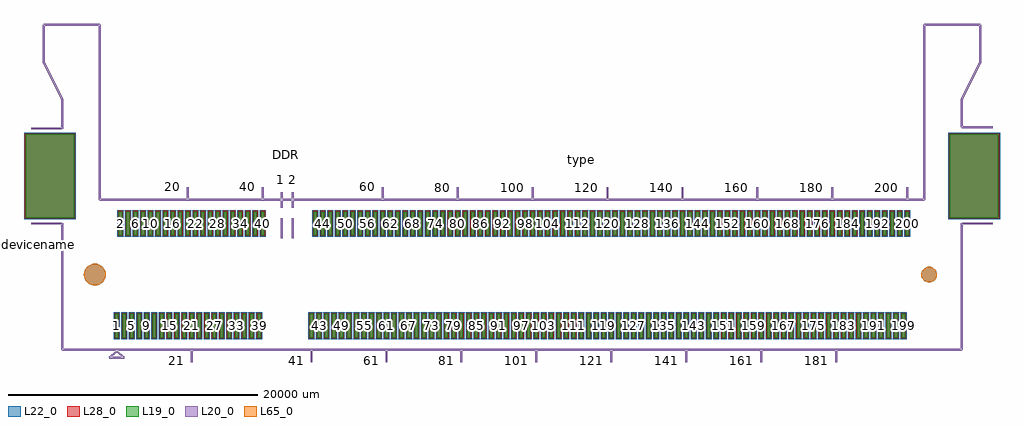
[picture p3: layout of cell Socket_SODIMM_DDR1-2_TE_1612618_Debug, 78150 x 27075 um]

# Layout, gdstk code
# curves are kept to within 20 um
import gdstk
lib = gdstk.Library(unit=1e-6, precision=1e-09)
def R(c, l, rs):  # rectangles x0, y0, x1, y1
    for r in rs: c.add(gdstk.rectangle(r[:2], r[2:], *l))
def A(c, l, x, y, w, h, nx, ny, dx, dy):  # array of equal rectangles
    R(c, l, [(x+i*dx, y+j*dy, x+i*dx+w, y+j*dy+h) for i in range(nx) for j in range(ny)])
def P(c, l, *ps):  # polygons
    for p in ps: c.add(gdstk.Polygon(p, *l))
L19_0 = (19, 0)
L20_0 = (20, 0)
L22_0 = (22, 0)
L28_0 = (28, 0)
L65_0 = (65, 0)

socket_sodimm_ddr1_2_te_ = lib.new_cell('Socket_SODIMM_DDR1-2_TE_1612618_Debug')
A(socket_sodimm_ddr1_2_te_, L19_0, -31775, -5050, 250, 1900, 20, 1, 600, 0)
A(socket_sodimm_ddr1_2_te_, L19_0, -16175, -5050, 250, 1900, 80, 1, 600, 0)
A(socket_sodimm_ddr1_2_te_, L19_0, -31475, 3150, 250, 1900, 20, 1, 600, 0)
A(socket_sodimm_ddr1_2_te_, L19_0, -15875, 3150, 250, 1900, 80, 1, 600, 0)
R(socket_sodimm_ddr1_2_te_, L19_0, [(-38950,4550,-35050,11250), (35050,4550,38950,11250)])
A(socket_sodimm_ddr1_2_te_, L22_0, -31900, -5175, 500, 2150, 20, 1, 600, 0)
A(socket_sodimm_ddr1_2_te_, L22_0, -16300, -5175, 500, 2150, 80, 1, 600, 0)
A(socket_sodimm_ddr1_2_te_, L22_0, -31600, 3025, 500, 2150, 20, 1, 600, 0)
A(socket_sodimm_ddr1_2_te_, L22_0, -16000, 3025, 500, 2150, 80, 1, 600, 0)
R(socket_sodimm_ddr1_2_te_, L22_0, [(-39075,4425,-34925,11375), (34925,4425,39075,11375)])
P(socket_sodimm_ddr1_2_te_, L22_0, [(34025,0),(33977.425,239.177),(33841.942,441.942),(33639.177,577.425),(33400,625),(33160.823,577.425),(32958.058,441.942),(32822.575,239.177),(32775,0),(32822.575,-239.177),(32958.058,-441.942),(33160.823,-577.425),(33400,-625),(33639.177,-577.425),(33841.942,-441.942),(33977.425,-239.177)],
  [(-32525,0),(-32591.605,334.848),(-32781.282,618.718),(-33065.152,808.395),(-33400,875),(-33734.848,808.395),(-34018.718,618.718),(-34208.395,334.848),(-34275,0),(-34208.395,-334.848),(-34018.718,-618.718),(-33734.848,-808.395),(-33400,-875),(-33065.152,-808.395),(-32781.282,-618.718),(-32591.605,-334.848)])
A(socket_sodimm_ddr1_2_te_, L28_0, -31825, -5100, 350, 2000, 20, 1, 600, 0)
A(socket_sodimm_ddr1_2_te_, L28_0, -16225, -5100, 350, 2000, 80, 1, 600, 0)
A(socket_sodimm_ddr1_2_te_, L28_0, -31525, 3100, 350, 2000, 20, 1, 600, 0)
A(socket_sodimm_ddr1_2_te_, L28_0, -15925, 3100, 350, 2000, 80, 1, 600, 0)
R(socket_sodimm_ddr1_2_te_, L28_0, [(-39000,4500,-35000,11300), (35000,4500,39000,11300)])
P(socket_sodimm_ddr1_2_te_, L65_0, [(34025,0),(33977.425,239.177),(33841.942,441.942),(33639.177,577.425),(33400,625),(33160.823,577.425),(32958.058,441.942),(32822.575,239.177),(32775,0),(32822.575,-239.177),(32958.058,-441.942),(33160.823,-577.425),(33400,-625),(33639.177,-577.425),(33841.942,-441.942),(33977.425,-239.177)],
  [(-32525,0),(-32591.605,334.848),(-32781.282,618.718),(-33065.152,808.395),(-33400,875),(-33734.848,808.395),(-34018.718,618.718),(-34208.395,334.848),(-34275,0),(-34208.395,-334.848),(-34018.718,-618.718),(-33734.848,-808.395),(-33400,-875),(-33065.152,-808.395),(-32781.282,-618.718),(-32591.605,-334.848)])
socket_sodimm_ddr1_2_te_.add(gdstk.FlexPath([(-33000,20000),(-37500,20000)], 149.998, ends="flush", simple_path=True, layer=20, datatype=0))  # L20_0
socket_sodimm_ddr1_2_te_.add(gdstk.FlexPath([(-33000,6000),(-33000,20000)], 149.998, ends="flush", simple_path=True, layer=20, datatype=0))  # L20_0
socket_sodimm_ddr1_2_te_.add(gdstk.FlexPath([(0,6000),(-33000,6000)], 149.998, ends="flush", simple_path=True, layer=20, datatype=0))  # L20_0
socket_sodimm_ddr1_2_te_.add(gdstk.FlexPath([(33000,6000),(0,6000)], 149.998, ends="flush", simple_path=True, layer=20, datatype=0))  # L20_0
socket_sodimm_ddr1_2_te_.add(gdstk.FlexPath([(33000,20000),(33000,6000)], 149.998, ends="flush", simple_path=True, layer=20, datatype=0))  # L20_0
socket_sodimm_ddr1_2_te_.add(gdstk.FlexPath([(37500,20000),(33000,20000)], 149.998, ends="flush", simple_path=True, layer=20, datatype=0))  # L20_0
socket_sodimm_ddr1_2_te_.add(gdstk.FlexPath([(37500,17000),(37500,20000)], 149.998, ends="flush", simple_path=True, layer=20, datatype=0))  # L20_0
socket_sodimm_ddr1_2_te_.add(gdstk.FlexPath([(36000,14000),(37500,17000)], 149.998, ends="flush", simple_path=True, layer=20, datatype=0))  # L20_0
socket_sodimm_ddr1_2_te_.add(gdstk.FlexPath([(-36000,-6000),(36000,-6000)], 149.998, ends="flush", simple_path=True, layer=20, datatype=0))  # L20_0
socket_sodimm_ddr1_2_te_.add(gdstk.FlexPath([(-37500,17000),(-36000,14000)], 149.998, ends="flush", simple_path=True, layer=20, datatype=0))  # L20_0
socket_sodimm_ddr1_2_te_.add(gdstk.FlexPath([(-37500,20000),(-37500,17000)], 149.998, ends="flush", simple_path=True, layer=20, datatype=0))  # L20_0
socket_sodimm_ddr1_2_te_.add(gdstk.FlexPath([(-18450,5350),(-18450,6600)], 149.998, ends="flush", simple_path=True, layer=20, datatype=0))  # L20_0
socket_sodimm_ddr1_2_te_.add(gdstk.FlexPath([(-17550,5350),(-17550,6600)], 149.998, ends="flush", simple_path=True, layer=20, datatype=0))  # L20_0
socket_sodimm_ddr1_2_te_.add(gdstk.FlexPath([(-17550,4500),(-17550,2900)], 149.998, ends="flush", simple_path=True, layer=20, datatype=0))  # L20_0
socket_sodimm_ddr1_2_te_.add(gdstk.FlexPath([(-18450,4500),(-18450,2900)], 149.998, ends="flush", simple_path=True, layer=20, datatype=0))  # L20_0
socket_sodimm_ddr1_2_te_.add(gdstk.FlexPath([(-32250,-6650),(-31650,-6150)], 149.998, ends="flush", simple_path=True, layer=20, datatype=0))  # L20_0
socket_sodimm_ddr1_2_te_.add(gdstk.FlexPath([(-31050,-6650),(-32250,-6650)], 149.998, ends="flush", simple_path=True, layer=20, datatype=0))  # L20_0
socket_sodimm_ddr1_2_te_.add(gdstk.FlexPath([(-31650,-6150),(-31050,-6650)], 149.998, ends="flush", simple_path=True, layer=20, datatype=0))  # L20_0
socket_sodimm_ddr1_2_te_.add(gdstk.FlexPath([(-25950,6000),(-25950,7000)], 149.998, ends="flush", simple_path=True, layer=20, datatype=0))  # L20_0
socket_sodimm_ddr1_2_te_.add(gdstk.FlexPath([(-36000,4100),(-38500,4100)], 149.998, ends="flush", simple_path=True, layer=20, datatype=0))  # L20_0
socket_sodimm_ddr1_2_te_.add(gdstk.FlexPath([(-36000,11700),(-38500,11700)], 149.998, ends="flush", simple_path=True, layer=20, datatype=0))  # L20_0
socket_sodimm_ddr1_2_te_.add(gdstk.FlexPath([(-36000,14000),(-36000,11700)], 149.998, ends="flush", simple_path=True, layer=20, datatype=0))  # L20_0
socket_sodimm_ddr1_2_te_.add(gdstk.FlexPath([(-36000,4100),(-36000,-6000)], 149.998, ends="flush", simple_path=True, layer=20, datatype=0))  # L20_0
socket_sodimm_ddr1_2_te_.add(gdstk.FlexPath([(36000,4100),(38500,4100)], 149.998, ends="flush", simple_path=True, layer=20, datatype=0))  # L20_0
socket_sodimm_ddr1_2_te_.add(gdstk.FlexPath([(36000,11800),(38500,11800)], 149.998, ends="flush", simple_path=True, layer=20, datatype=0))  # L20_0
socket_sodimm_ddr1_2_te_.add(gdstk.FlexPath([(36000,14000),(36000,11800)], 149.998, ends="flush", simple_path=True, layer=20, datatype=0))  # L20_0
socket_sodimm_ddr1_2_te_.add(gdstk.FlexPath([(36000,-6000),(36000,4100)], 149.998, ends="flush", simple_path=True, layer=20, datatype=0))  # L20_0
socket_sodimm_ddr1_2_te_.add(gdstk.FlexPath([(-19950,6000),(-19950,7000)], 149.998, ends="flush", simple_path=True, layer=20, datatype=0))  # L20_0
socket_sodimm_ddr1_2_te_.add(gdstk.FlexPath([(-4350,6000),(-4350,7000)], 149.998, ends="flush", simple_path=True, layer=20, datatype=0))  # L20_0
socket_sodimm_ddr1_2_te_.add(gdstk.FlexPath([(-10350,6000),(-10350,7000)], 149.998, ends="flush", simple_path=True, layer=20, datatype=0))  # L20_0
socket_sodimm_ddr1_2_te_.add(gdstk.FlexPath([(1650,6000),(1650,7000)], 149.998, ends="flush", simple_path=True, layer=20, datatype=0))  # L20_0
socket_sodimm_ddr1_2_te_.add(gdstk.FlexPath([(7650,6000),(7650,7000)], 149.998, ends="flush", simple_path=True, layer=20, datatype=0))  # L20_0
socket_sodimm_ddr1_2_te_.add(gdstk.FlexPath([(31650,6000),(31650,7000)], 149.998, ends="flush", simple_path=True, layer=20, datatype=0))  # L20_0
socket_sodimm_ddr1_2_te_.add(gdstk.FlexPath([(25650,6000),(25650,7000)], 149.998, ends="flush", simple_path=True, layer=20, datatype=0))  # L20_0
socket_sodimm_ddr1_2_te_.add(gdstk.FlexPath([(13650,6000),(13650,7000)], 149.998, ends="flush", simple_path=True, layer=20, datatype=0))  # L20_0
socket_sodimm_ddr1_2_te_.add(gdstk.FlexPath([(19650,6000),(19650,7000)], 149.998, ends="flush", simple_path=True, layer=20, datatype=0))  # L20_0
socket_sodimm_ddr1_2_te_.add(gdstk.FlexPath([(13950,-7000),(13950,-6000)], 149.998, ends="flush", simple_path=True, layer=20, datatype=0))  # L20_0
socket_sodimm_ddr1_2_te_.add(gdstk.FlexPath([(7950,-7000),(7950,-6000)], 149.998, ends="flush", simple_path=True, layer=20, datatype=0))  # L20_0
socket_sodimm_ddr1_2_te_.add(gdstk.FlexPath([(19950,-7000),(19950,-6000)], 149.998, ends="flush", simple_path=True, layer=20, datatype=0))  # L20_0
socket_sodimm_ddr1_2_te_.add(gdstk.FlexPath([(25950,-7000),(25950,-6000)], 149.998, ends="flush", simple_path=True, layer=20, datatype=0))  # L20_0
socket_sodimm_ddr1_2_te_.add(gdstk.FlexPath([(1950,-7000),(1950,-6000)], 149.998, ends="flush", simple_path=True, layer=20, datatype=0))  # L20_0
socket_sodimm_ddr1_2_te_.add(gdstk.FlexPath([(-4050,-7000),(-4050,-6000)], 149.998, ends="flush", simple_path=True, layer=20, datatype=0))  # L20_0
socket_sodimm_ddr1_2_te_.add(gdstk.FlexPath([(-16050,-7000),(-16050,-6000)], 149.998, ends="flush", simple_path=True, layer=20, datatype=0))  # L20_0
socket_sodimm_ddr1_2_te_.add(gdstk.FlexPath([(-10050,-7000),(-10050,-6000)], 149.998, ends="flush", simple_path=True, layer=20, datatype=0))  # L20_0
socket_sodimm_ddr1_2_te_.add(gdstk.FlexPath([(-25650,-7000),(-25650,-6000)], 149.998, ends="flush", simple_path=True, layer=20, datatype=0))  # L20_0
socket_sodimm_ddr1_2_te_.add(gdstk.Label('200', (31650,4100), layer=28, texttype=0))
socket_sodimm_ddr1_2_te_.add(gdstk.Label('198', (31050,4100), layer=28, texttype=0))
socket_sodimm_ddr1_2_te_.add(gdstk.Label('196', (30450,4100), layer=28, texttype=0))
socket_sodimm_ddr1_2_te_.add(gdstk.Label('194', (29850,4100), layer=28, texttype=0))
socket_sodimm_ddr1_2_te_.add(gdstk.Label('192', (29250,4100), layer=28, texttype=0))
socket_sodimm_ddr1_2_te_.add(gdstk.Label('190', (28650,4100), layer=28, texttype=0))
socket_sodimm_ddr1_2_te_.add(gdstk.Label('188', (28050,4100), layer=28, texttype=0))
socket_sodimm_ddr1_2_te_.add(gdstk.Label('186', (27450,4100), layer=28, texttype=0))
socket_sodimm_ddr1_2_te_.add(gdstk.Label('184', (26850,4100), layer=28, texttype=0))
socket_sodimm_ddr1_2_te_.add(gdstk.Label('182', (26250,4100), layer=28, texttype=0))
socket_sodimm_ddr1_2_te_.add(gdstk.Label('180', (25650,4100), layer=28, texttype=0))
socket_sodimm_ddr1_2_te_.add(gdstk.Label('178', (25050,4100), layer=28, texttype=0))
socket_sodimm_ddr1_2_te_.add(gdstk.Label('176', (24450,4100), layer=28, texttype=0))
socket_sodimm_ddr1_2_te_.add(gdstk.Label('174', (23850,4100), layer=28, texttype=0))
socket_sodimm_ddr1_2_te_.add(gdstk.Label('172', (23250,4100), layer=28, texttype=0))
socket_sodimm_ddr1_2_te_.add(gdstk.Label('170', (22650,4100), layer=28, texttype=0))
socket_sodimm_ddr1_2_te_.add(gdstk.Label('168', (22050,4100), layer=28, texttype=0))
socket_sodimm_ddr1_2_te_.add(gdstk.Label('166', (21450,4100), layer=28, texttype=0))
socket_sodimm_ddr1_2_te_.add(gdstk.Label('164', (20850,4100), layer=28, texttype=0))
socket_sodimm_ddr1_2_te_.add(gdstk.Label('162', (20250,4100), layer=28, texttype=0))
socket_sodimm_ddr1_2_te_.add(gdstk.Label('160', (19650,4100), layer=28, texttype=0))
socket_sodimm_ddr1_2_te_.add(gdstk.Label('158', (19050,4100), layer=28, texttype=0))
socket_sodimm_ddr1_2_te_.add(gdstk.Label('156', (18450,4100), layer=28, texttype=0))
socket_sodimm_ddr1_2_te_.add(gdstk.Label('154', (17850,4100), layer=28, texttype=0))
socket_sodimm_ddr1_2_te_.add(gdstk.Label('152', (17250,4100), layer=28, texttype=0))
socket_sodimm_ddr1_2_te_.add(gdstk.Label('150', (16650,4100), layer=28, texttype=0))
socket_sodimm_ddr1_2_te_.add(gdstk.Label('148', (16050,4100), layer=28, texttype=0))
socket_sodimm_ddr1_2_te_.add(gdstk.Label('146', (15450,4100), layer=28, texttype=0))
socket_sodimm_ddr1_2_te_.add(gdstk.Label('144', (14850,4100), layer=28, texttype=0))
socket_sodimm_ddr1_2_te_.add(gdstk.Label('142', (14250,4100), layer=28, texttype=0))
socket_sodimm_ddr1_2_te_.add(gdstk.Label('140', (13650,4100), layer=28, texttype=0))
socket_sodimm_ddr1_2_te_.add(gdstk.Label('138', (13050,4100), layer=28, texttype=0))
socket_sodimm_ddr1_2_te_.add(gdstk.Label('136', (12450,4100), layer=28, texttype=0))
socket_sodimm_ddr1_2_te_.add(gdstk.Label('134', (11850,4100), layer=28, texttype=0))
socket_sodimm_ddr1_2_te_.add(gdstk.Label('132', (11250,4100), layer=28, texttype=0))
socket_sodimm_ddr1_2_te_.add(gdstk.Label('130', (10650,4100), layer=28, texttype=0))
socket_sodimm_ddr1_2_te_.add(gdstk.Label('128', (10050,4100), layer=28, texttype=0))
socket_sodimm_ddr1_2_te_.add(gdstk.Label('126', (9450,4100), layer=28, texttype=0))
socket_sodimm_ddr1_2_te_.add(gdstk.Label('124', (8850,4100), layer=28, texttype=0))
socket_sodimm_ddr1_2_te_.add(gdstk.Label('122', (8250,4100), layer=28, texttype=0))
socket_sodimm_ddr1_2_te_.add(gdstk.Label('120', (7650,4100), layer=28, texttype=0))
socket_sodimm_ddr1_2_te_.add(gdstk.Label('118', (7050,4100), layer=28, texttype=0))
socket_sodimm_ddr1_2_te_.add(gdstk.Label('116', (6450,4100), layer=28, texttype=0))
socket_sodimm_ddr1_2_te_.add(gdstk.Label('114', (5850,4100), layer=28, texttype=0))
socket_sodimm_ddr1_2_te_.add(gdstk.Label('112', (5250,4100), layer=28, texttype=0))
socket_sodimm_ddr1_2_te_.add(gdstk.Label('110', (4650,4100), layer=28, texttype=0))
socket_sodimm_ddr1_2_te_.add(gdstk.Label('108', (4050,4100), layer=28, texttype=0))
socket_sodimm_ddr1_2_te_.add(gdstk.Label('106', (3450,4100), layer=28, texttype=0))
socket_sodimm_ddr1_2_te_.add(gdstk.Label('104', (2850,4100), layer=28, texttype=0))
socket_sodimm_ddr1_2_te_.add(gdstk.Label('102', (2250,4100), layer=28, texttype=0))
socket_sodimm_ddr1_2_te_.add(gdstk.Label('100', (1650,4100), layer=28, texttype=0))
socket_sodimm_ddr1_2_te_.add(gdstk.Label('98', (1050,4100), layer=28, texttype=0))
socket_sodimm_ddr1_2_te_.add(gdstk.Label('96', (450,4100), layer=28, texttype=0))
socket_sodimm_ddr1_2_te_.add(gdstk.Label('94', (-150,4100), layer=28, texttype=0))
socket_sodimm_ddr1_2_te_.add(gdstk.Label('92', (-750,4100), layer=28, texttype=0))
socket_sodimm_ddr1_2_te_.add(gdstk.Label('90', (-1350,4100), layer=28, texttype=0))
socket_sodimm_ddr1_2_te_.add(gdstk.Label('88', (-1950,4100), layer=28, texttype=0))
socket_sodimm_ddr1_2_te_.add(gdstk.Label('86', (-2550,4100), layer=28, texttype=0))
socket_sodimm_ddr1_2_te_.add(gdstk.Label('84', (-3150,4100), layer=28, texttype=0))
socket_sodimm_ddr1_2_te_.add(gdstk.Label('82', (-3750,4100), layer=28, texttype=0))
socket_sodimm_ddr1_2_te_.add(gdstk.Label('80', (-4350,4100), layer=28, texttype=0))
socket_sodimm_ddr1_2_te_.add(gdstk.Label('78', (-4950,4100), layer=28, texttype=0))
socket_sodimm_ddr1_2_te_.add(gdstk.Label('76', (-5550,4100), layer=28, texttype=0))
socket_sodimm_ddr1_2_te_.add(gdstk.Label('74', (-6150,4100), layer=28, texttype=0))
socket_sodimm_ddr1_2_te_.add(gdstk.Label('72', (-6750,4100), layer=28, texttype=0))
socket_sodimm_ddr1_2_te_.add(gdstk.Label('70', (-7350,4100), layer=28, texttype=0))
socket_sodimm_ddr1_2_te_.add(gdstk.Label('68', (-7950,4100), layer=28, texttype=0))
socket_sodimm_ddr1_2_te_.add(gdstk.Label('66', (-8550,4100), layer=28, texttype=0))
socket_sodimm_ddr1_2_te_.add(gdstk.Label('64', (-9150,4100), layer=28, texttype=0))
socket_sodimm_ddr1_2_te_.add(gdstk.Label('62', (-9750,4100), layer=28, texttype=0))
socket_sodimm_ddr1_2_te_.add(gdstk.Label('60', (-10350,4100), layer=28, texttype=0))
socket_sodimm_ddr1_2_te_.add(gdstk.Label('58', (-10950,4100), layer=28, texttype=0))
socket_sodimm_ddr1_2_te_.add(gdstk.Label('56', (-11550,4100), layer=28, texttype=0))
socket_sodimm_ddr1_2_te_.add(gdstk.Label('54', (-12150,4100), layer=28, texttype=0))
socket_sodimm_ddr1_2_te_.add(gdstk.Label('52', (-12750,4100), layer=28, texttype=0))
socket_sodimm_ddr1_2_te_.add(gdstk.Label('50', (-13350,4100), layer=28, texttype=0))
socket_sodimm_ddr1_2_te_.add(gdstk.Label('48', (-13950,4100), layer=28, texttype=0))
socket_sodimm_ddr1_2_te_.add(gdstk.Label('46', (-14550,4100), layer=28, texttype=0))
socket_sodimm_ddr1_2_te_.add(gdstk.Label('44', (-15150,4100), layer=28, texttype=0))
socket_sodimm_ddr1_2_te_.add(gdstk.Label('42', (-15750,4100), layer=28, texttype=0))
socket_sodimm_ddr1_2_te_.add(gdstk.Label('40', (-19950,4100), layer=28, texttype=0))
socket_sodimm_ddr1_2_te_.add(gdstk.Label('38', (-20550,4100), layer=28, texttype=0))
socket_sodimm_ddr1_2_te_.add(gdstk.Label('36', (-21150,4100), layer=28, texttype=0))
socket_sodimm_ddr1_2_te_.add(gdstk.Label('34', (-21750,4100), layer=28, texttype=0))
socket_sodimm_ddr1_2_te_.add(gdstk.Label('32', (-22350,4100), layer=28, texttype=0))
socket_sodimm_ddr1_2_te_.add(gdstk.Label('30', (-22950,4100), layer=28, texttype=0))
socket_sodimm_ddr1_2_te_.add(gdstk.Label('28', (-23550,4100), layer=28, texttype=0))
socket_sodimm_ddr1_2_te_.add(gdstk.Label('26', (-24150,4100), layer=28, texttype=0))
socket_sodimm_ddr1_2_te_.add(gdstk.Label('24', (-24750,4100), layer=28, texttype=0))
socket_sodimm_ddr1_2_te_.add(gdstk.Label('22', (-25350,4100), layer=28, texttype=0))
socket_sodimm_ddr1_2_te_.add(gdstk.Label('20', (-25950,4100), layer=28, texttype=0))
socket_sodimm_ddr1_2_te_.add(gdstk.Label('18', (-26550,4100), layer=28, texttype=0))
socket_sodimm_ddr1_2_te_.add(gdstk.Label('16', (-27150,4100), layer=28, texttype=0))
socket_sodimm_ddr1_2_te_.add(gdstk.Label('14', (-27750,4100), layer=28, texttype=0))
socket_sodimm_ddr1_2_te_.add(gdstk.Label('12', (-28350,4100), layer=28, texttype=0))
socket_sodimm_ddr1_2_te_.add(gdstk.Label('10', (-28950,4100), layer=28, texttype=0))
socket_sodimm_ddr1_2_te_.add(gdstk.Label('8', (-29550,4100), layer=28, texttype=0))
socket_sodimm_ddr1_2_te_.add(gdstk.Label('6', (-30150,4100), layer=28, texttype=0))
socket_sodimm_ddr1_2_te_.add(gdstk.Label('4', (-30750,4100), layer=28, texttype=0))
socket_sodimm_ddr1_2_te_.add(gdstk.Label('2', (-31350,4100), layer=28, texttype=0))
socket_sodimm_ddr1_2_te_.add(gdstk.Label('199', (31350,-4100), layer=28, texttype=0))
socket_sodimm_ddr1_2_te_.add(gdstk.Label('197', (30750,-4100), layer=28, texttype=0))
socket_sodimm_ddr1_2_te_.add(gdstk.Label('195', (30150,-4100), layer=28, texttype=0))
socket_sodimm_ddr1_2_te_.add(gdstk.Label('193', (29550,-4100), layer=28, texttype=0))
socket_sodimm_ddr1_2_te_.add(gdstk.Label('191', (28950,-4100), layer=28, texttype=0))
socket_sodimm_ddr1_2_te_.add(gdstk.Label('189', (28350,-4100), layer=28, texttype=0))
socket_sodimm_ddr1_2_te_.add(gdstk.Label('187', (27750,-4100), layer=28, texttype=0))
socket_sodimm_ddr1_2_te_.add(gdstk.Label('185', (27150,-4100), layer=28, texttype=0))
socket_sodimm_ddr1_2_te_.add(gdstk.Label('183', (26550,-4100), layer=28, texttype=0))
socket_sodimm_ddr1_2_te_.add(gdstk.Label('181', (25950,-4100), layer=28, texttype=0))
socket_sodimm_ddr1_2_te_.add(gdstk.Label('179', (25350,-4100), layer=28, texttype=0))
socket_sodimm_ddr1_2_te_.add(gdstk.Label('177', (24750,-4100), layer=28, texttype=0))
socket_sodimm_ddr1_2_te_.add(gdstk.Label('175', (24150,-4100), layer=28, texttype=0))
socket_sodimm_ddr1_2_te_.add(gdstk.Label('173', (23550,-4100), layer=28, texttype=0))
socket_sodimm_ddr1_2_te_.add(gdstk.Label('171', (22950,-4100), layer=28, texttype=0))
socket_sodimm_ddr1_2_te_.add(gdstk.Label('169', (22350,-4100), layer=28, texttype=0))
socket_sodimm_ddr1_2_te_.add(gdstk.Label('167', (21750,-4100), layer=28, texttype=0))
socket_sodimm_ddr1_2_te_.add(gdstk.Label('165', (21150,-4100), layer=28, texttype=0))
socket_sodimm_ddr1_2_te_.add(gdstk.Label('163', (20550,-4100), layer=28, texttype=0))
socket_sodimm_ddr1_2_te_.add(gdstk.Label('161', (19950,-4100), layer=28, texttype=0))
socket_sodimm_ddr1_2_te_.add(gdstk.Label('159', (19350,-4100), layer=28, texttype=0))
socket_sodimm_ddr1_2_te_.add(gdstk.Label('157', (18750,-4100), layer=28, texttype=0))
socket_sodimm_ddr1_2_te_.add(gdstk.Label('155', (18150,-4100), layer=28, texttype=0))
socket_sodimm_ddr1_2_te_.add(gdstk.Label('153', (17550,-4100), layer=28, texttype=0))
socket_sodimm_ddr1_2_te_.add(gdstk.Label('151', (16950,-4100), layer=28, texttype=0))
socket_sodimm_ddr1_2_te_.add(gdstk.Label('149', (16350,-4100), layer=28, texttype=0))
socket_sodimm_ddr1_2_te_.add(gdstk.Label('147', (15750,-4100), layer=28, texttype=0))
socket_sodimm_ddr1_2_te_.add(gdstk.Label('145', (15150,-4100), layer=28, texttype=0))
socket_sodimm_ddr1_2_te_.add(gdstk.Label('143', (14550,-4100), layer=28, texttype=0))
socket_sodimm_ddr1_2_te_.add(gdstk.Label('141', (13950,-4100), layer=28, texttype=0))
socket_sodimm_ddr1_2_te_.add(gdstk.Label('139', (13350,-4100), layer=28, texttype=0))
socket_sodimm_ddr1_2_te_.add(gdstk.Label('137', (12750,-4100), layer=28, texttype=0))
socket_sodimm_ddr1_2_te_.add(gdstk.Label('135', (12150,-4100), layer=28, texttype=0))
socket_sodimm_ddr1_2_te_.add(gdstk.Label('133', (11550,-4100), layer=28, texttype=0))
socket_sodimm_ddr1_2_te_.add(gdstk.Label('131', (10950,-4100), layer=28, texttype=0))
socket_sodimm_ddr1_2_te_.add(gdstk.Label('129', (10350,-4100), layer=28, texttype=0))
socket_sodimm_ddr1_2_te_.add(gdstk.Label('127', (9750,-4100), layer=28, texttype=0))
socket_sodimm_ddr1_2_te_.add(gdstk.Label('125', (9150,-4100), layer=28, texttype=0))
socket_sodimm_ddr1_2_te_.add(gdstk.Label('123', (8550,-4100), layer=28, texttype=0))
socket_sodimm_ddr1_2_te_.add(gdstk.Label('121', (7950,-4100), layer=28, texttype=0))
socket_sodimm_ddr1_2_te_.add(gdstk.Label('119', (7350,-4100), layer=28, texttype=0))
socket_sodimm_ddr1_2_te_.add(gdstk.Label('117', (6750,-4100), layer=28, texttype=0))
socket_sodimm_ddr1_2_te_.add(gdstk.Label('115', (6150,-4100), layer=28, texttype=0))
socket_sodimm_ddr1_2_te_.add(gdstk.Label('113', (5550,-4100), layer=28, texttype=0))
socket_sodimm_ddr1_2_te_.add(gdstk.Label('111', (4950,-4100), layer=28, texttype=0))
socket_sodimm_ddr1_2_te_.add(gdstk.Label('109', (4350,-4100), layer=28, texttype=0))
socket_sodimm_ddr1_2_te_.add(gdstk.Label('107', (3750,-4100), layer=28, texttype=0))
socket_sodimm_ddr1_2_te_.add(gdstk.Label('105', (3150,-4100), layer=28, texttype=0))
socket_sodimm_ddr1_2_te_.add(gdstk.Label('103', (2550,-4100), layer=28, texttype=0))
socket_sodimm_ddr1_2_te_.add(gdstk.Label('101', (1950,-4100), layer=28, texttype=0))
socket_sodimm_ddr1_2_te_.add(gdstk.Label('99', (1350,-4100), layer=28, texttype=0))
socket_sodimm_ddr1_2_te_.add(gdstk.Label('97', (750,-4100), layer=28, texttype=0))
socket_sodimm_ddr1_2_te_.add(gdstk.Label('95', (150,-4100), layer=28, texttype=0))
socket_sodimm_ddr1_2_te_.add(gdstk.Label('93', (-450,-4100), layer=28, texttype=0))
socket_sodimm_ddr1_2_te_.add(gdstk.Label('91', (-1050,-4100), layer=28, texttype=0))
socket_sodimm_ddr1_2_te_.add(gdstk.Label('89', (-1650,-4100), layer=28, texttype=0))
socket_sodimm_ddr1_2_te_.add(gdstk.Label('87', (-2250,-4100), layer=28, texttype=0))
socket_sodimm_ddr1_2_te_.add(gdstk.Label('85', (-2850,-4100), layer=28, texttype=0))
socket_sodimm_ddr1_2_te_.add(gdstk.Label('83', (-3450,-4100), layer=28, texttype=0))
socket_sodimm_ddr1_2_te_.add(gdstk.Label('81', (-4050,-4100), layer=28, texttype=0))
socket_sodimm_ddr1_2_te_.add(gdstk.Label('79', (-4650,-4100), layer=28, texttype=0))
socket_sodimm_ddr1_2_te_.add(gdstk.Label('77', (-5250,-4100), layer=28, texttype=0))
socket_sodimm_ddr1_2_te_.add(gdstk.Label('75', (-5850,-4100), layer=28, texttype=0))
socket_sodimm_ddr1_2_te_.add(gdstk.Label('73', (-6450,-4100), layer=28, texttype=0))
socket_sodimm_ddr1_2_te_.add(gdstk.Label('71', (-7050,-4100), layer=28, texttype=0))
socket_sodimm_ddr1_2_te_.add(gdstk.Label('69', (-7650,-4100), layer=28, texttype=0))
socket_sodimm_ddr1_2_te_.add(gdstk.Label('67', (-8250,-4100), layer=28, texttype=0))
socket_sodimm_ddr1_2_te_.add(gdstk.Label('65', (-8850,-4100), layer=28, texttype=0))
socket_sodimm_ddr1_2_te_.add(gdstk.Label('63', (-9450,-4100), layer=28, texttype=0))
socket_sodimm_ddr1_2_te_.add(gdstk.Label('61', (-10050,-4100), layer=28, texttype=0))
socket_sodimm_ddr1_2_te_.add(gdstk.Label('59', (-10650,-4100), layer=28, texttype=0))
socket_sodimm_ddr1_2_te_.add(gdstk.Label('57', (-11250,-4100), layer=28, texttype=0))
socket_sodimm_ddr1_2_te_.add(gdstk.Label('55', (-11850,-4100), layer=28, texttype=0))
socket_sodimm_ddr1_2_te_.add(gdstk.Label('53', (-12450,-4100), layer=28, texttype=0))
socket_sodimm_ddr1_2_te_.add(gdstk.Label('51', (-13050,-4100), layer=28, texttype=0))
socket_sodimm_ddr1_2_te_.add(gdstk.Label('49', (-13650,-4100), layer=28, texttype=0))
socket_sodimm_ddr1_2_te_.add(gdstk.Label('47', (-14250,-4100), layer=28, texttype=0))
socket_sodimm_ddr1_2_te_.add(gdstk.Label('45', (-14850,-4100), layer=28, texttype=0))
socket_sodimm_ddr1_2_te_.add(gdstk.Label('43', (-15450,-4100), layer=28, texttype=0))
socket_sodimm_ddr1_2_te_.add(gdstk.Label('41', (-16050,-4100), layer=28, texttype=0))
socket_sodimm_ddr1_2_te_.add(gdstk.Label('39', (-20250,-4100), layer=28, texttype=0))
socket_sodimm_ddr1_2_te_.add(gdstk.Label('37', (-20850,-4100), layer=28, texttype=0))
socket_sodimm_ddr1_2_te_.add(gdstk.Label('35', (-21450,-4100), layer=28, texttype=0))
socket_sodimm_ddr1_2_te_.add(gdstk.Label('33', (-22050,-4100), layer=28, texttype=0))
socket_sodimm_ddr1_2_te_.add(gdstk.Label('31', (-22650,-4100), layer=28, texttype=0))
socket_sodimm_ddr1_2_te_.add(gdstk.Label('29', (-23250,-4100), layer=28, texttype=0))
socket_sodimm_ddr1_2_te_.add(gdstk.Label('27', (-23850,-4100), layer=28, texttype=0))
socket_sodimm_ddr1_2_te_.add(gdstk.Label('25', (-24450,-4100), layer=28, texttype=0))
socket_sodimm_ddr1_2_te_.add(gdstk.Label('23', (-25050,-4100), layer=28, texttype=0))
socket_sodimm_ddr1_2_te_.add(gdstk.Label('21', (-25650,-4100), layer=28, texttype=0))
socket_sodimm_ddr1_2_te_.add(gdstk.Label('19', (-26250,-4100), layer=28, texttype=0))
socket_sodimm_ddr1_2_te_.add(gdstk.Label('17', (-26850,-4100), layer=28, texttype=0))
socket_sodimm_ddr1_2_te_.add(gdstk.Label('15', (-27450,-4100), layer=28, texttype=0))
socket_sodimm_ddr1_2_te_.add(gdstk.Label('13', (-28050,-4100), layer=28, texttype=0))
socket_sodimm_ddr1_2_te_.add(gdstk.Label('11', (-28650,-4100), layer=28, texttype=0))
socket_sodimm_ddr1_2_te_.add(gdstk.Label('9', (-29250,-4100), layer=28, texttype=0))
socket_sodimm_ddr1_2_te_.add(gdstk.Label('7', (-29850,-4100), layer=28, texttype=0))
socket_sodimm_ddr1_2_te_.add(gdstk.Label('5', (-30450,-4100), layer=28, texttype=0))
socket_sodimm_ddr1_2_te_.add(gdstk.Label('3', (-31050,-4100), layer=28, texttype=0))
socket_sodimm_ddr1_2_te_.add(gdstk.Label('1', (-31650,-4100), layer=28, texttype=0))
socket_sodimm_ddr1_2_te_.add(gdstk.Label('2', (-17550,7650), layer=9, texttype=0))
socket_sodimm_ddr1_2_te_.add(gdstk.Label('1', (-18550,7650), layer=9, texttype=0))
socket_sodimm_ddr1_2_te_.add(gdstk.Label('DDR', (-18150,9650), layer=9, texttype=0))
socket_sodimm_ddr1_2_te_.add(gdstk.Label('20', (-27150,7050), layer=9, texttype=0))
socket_sodimm_ddr1_2_te_.add(gdstk.Label('40', (-21150,7050), layer=9, texttype=0))
socket_sodimm_ddr1_2_te_.add(gdstk.Label('60', (-11550,7050), layer=9, texttype=0))
socket_sodimm_ddr1_2_te_.add(gdstk.Label('80', (-5600,7000), layer=9, texttype=0))
socket_sodimm_ddr1_2_te_.add(gdstk.Label('100', (0,7000), layer=9, texttype=0))
socket_sodimm_ddr1_2_te_.add(gdstk.Label('120', (6000,7000), layer=9, texttype=0))
socket_sodimm_ddr1_2_te_.add(gdstk.Label('140', (12000,7000), layer=9, texttype=0))
socket_sodimm_ddr1_2_te_.add(gdstk.Label('160', (18000,7000), layer=9, texttype=0))
socket_sodimm_ddr1_2_te_.add(gdstk.Label('180', (24000,7000), layer=9, texttype=0))
socket_sodimm_ddr1_2_te_.add(gdstk.Label('200', (30000,7000), layer=9, texttype=0))
socket_sodimm_ddr1_2_te_.add(gdstk.Label('181', (24350,-6900), layer=9, texttype=0))
socket_sodimm_ddr1_2_te_.add(gdstk.Label('161', (18350,-6900), layer=9, texttype=0))
socket_sodimm_ddr1_2_te_.add(gdstk.Label('141', (12350,-6900), layer=9, texttype=0))
socket_sodimm_ddr1_2_te_.add(gdstk.Label('121', (6350,-6900), layer=9, texttype=0))
socket_sodimm_ddr1_2_te_.add(gdstk.Label('101', (350,-6900), layer=9, texttype=0))
socket_sodimm_ddr1_2_te_.add(gdstk.Label('81', (-5250,-6900), layer=9, texttype=0))
socket_sodimm_ddr1_2_te_.add(gdstk.Label('61', (-11250,-6900), layer=9, texttype=0))
socket_sodimm_ddr1_2_te_.add(gdstk.Label('41', (-17250,-6900), layer=9, texttype=0))
socket_sodimm_ddr1_2_te_.add(gdstk.Label('21', (-26850,-6900), layer=9, texttype=0))
socket_sodimm_ddr1_2_te_.add(gdstk.Label('type', (5600,9200), layer=9, texttype=0))
socket_sodimm_ddr1_2_te_.add(gdstk.Label('devicename', (-38200,2400), layer=9, texttype=0))

lib.write_gds('Socket_SODIMM_DDR1-2_TE_1612618_Debug.gds')
